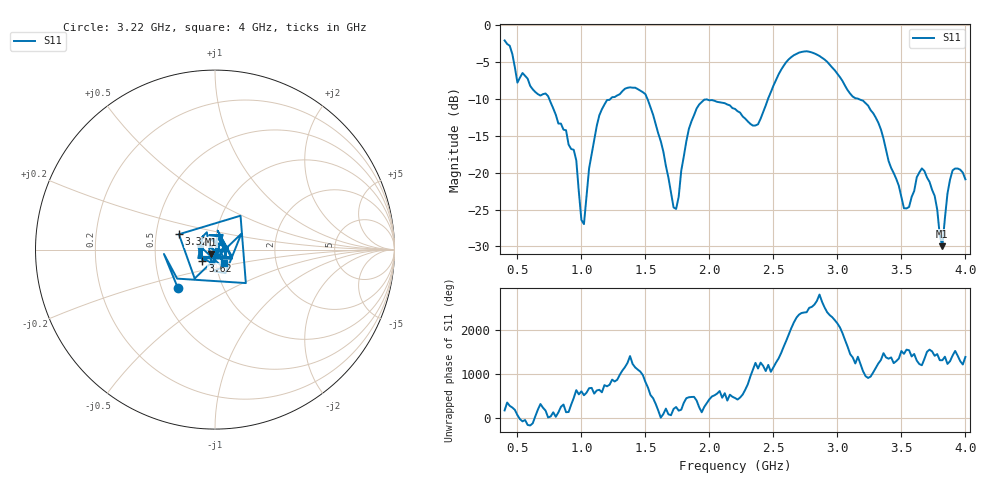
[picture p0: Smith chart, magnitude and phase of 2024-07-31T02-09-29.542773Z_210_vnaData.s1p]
!Created with skrf (http://scikit-rf.org).
# Hz S RI R 50.0
!freq ReS11 ImS11
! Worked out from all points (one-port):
!   181 points, 400 MHz to 4 GHz, reference 50 ohm
!   lowest |S11| = -30.0 dB at 3.82 GHz (marker M1), VSWR 1.07, Z = 47.9 - j2.32 ohm
!   |S11| at or under -10 dB: 749.2 MHz to 1.226 GHz (476.3 MHz wide, 48.2 % of centre); 1.517 GHz to 2.458 GHz (941 MHz wide, 47.4 % of centre); 3.168 GHz to end of sweep
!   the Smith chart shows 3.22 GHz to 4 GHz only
!   S11 on the Smith chart (normalised r, x): 3.22 GHz: 0.61, -0.28; 3.32 GHz: 0.66, +0.12; 3.62 GHz: 0.86, -0.11; 4 GHz: 1.09, -0.16
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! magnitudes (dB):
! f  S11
! 400 MHz  -2.0
! 500 MHz  -7.8
! 720 MHz  -9.2
! 860 MHz  -14.2
! 960 MHz  -18.3
! 1 GHz  -26.4
! 1.02 GHz  -27.0
! 1.06 GHz  -19.4
! 1.14 GHz  -12.2
! 1.3 GHz  -9.3
! 1.5 GHz  -9.3
! 1.72 GHz  -24.7
! 1.76 GHz  -23.3
! 1.84 GHz  -14.0
! 1.92 GHz  -10.7
! 2.2 GHz  -11.3
! 2.38 GHz  -13.4
! 2.66 GHz  -4.0
! 2.88 GHz  -4.4
! 3.1 GHz  -9.3
! 3.22 GHz  -10.5
! 3.32 GHz  -13.2
! 3.56 GHz  -24.7
! 3.62 GHz  -20.6
! 3.72 GHz  -21.2
! 3.82 GHz  -30.0
! 3.9 GHz  -19.7
! 4 GHz  -20.9
